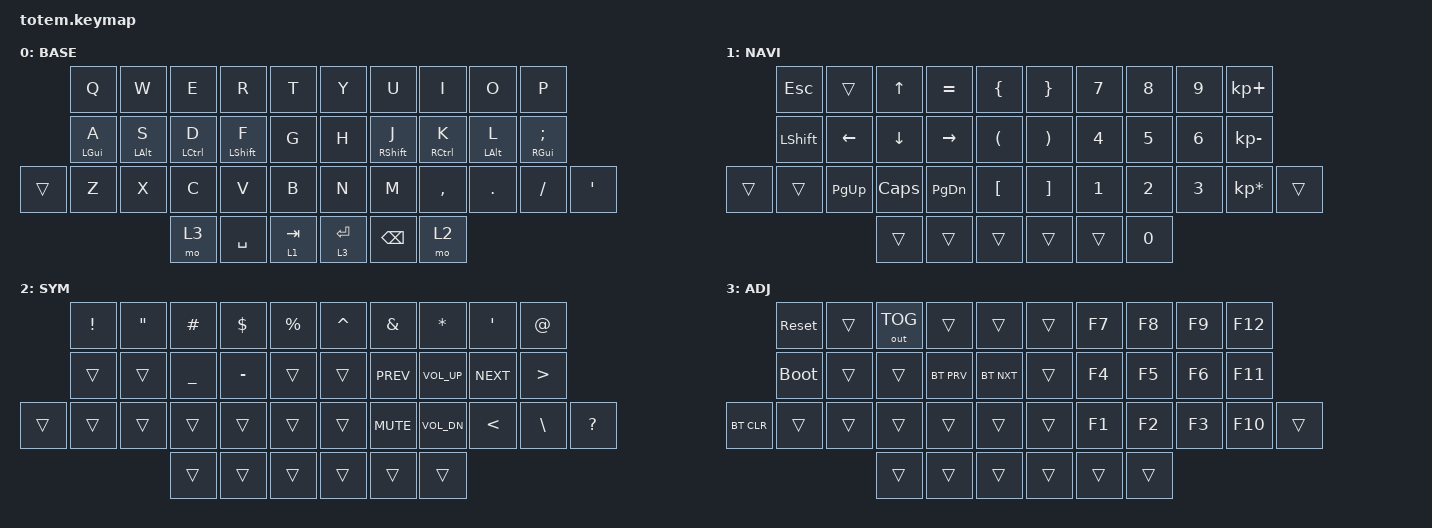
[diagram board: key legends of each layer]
#include <behaviors.dtsi>
#include <dt-bindings/zmk/bt.h>
#include <dt-bindings/zmk/keys.h>
#include <dt-bindings/zmk/outputs.h>

#define BASE 0
#define NAV  1
#define SYM  2
#define ADJ  3

/* Global override for standard Mod-Taps */
&mt {
    quick-tap-ms = <100>;
    require-prior-idle-ms = <80>;
    flavor = "tap-preferred";
    tapping-term-ms = <170>;
};

/ {
    /* Custom Behaviors */
    behaviors {
        hm_pinky: homerow_mods_pinky {
            compatible = "zmk,behavior-hold-tap";
            label = "HOMEROW_MODS_PINKY";
            #binding-cells = <2>;
            tapping-term-ms = <200>;
            quick-tap-ms = <100>;
            require-prior-idle-ms = <80>;
            flavor = "tap-preferred";
            bindings = <&kp>, <&kp>;
        };
    };

    combos {
        compatible = "zmk,combos";

        combo_esc {
            timeout-ms = <50>;
            key-positions = <2 3>;
            bindings = <&kp ESC>;
        };

        Enter {
            bindings = <&kp ENTER>;
            key-positions = <16 17 18>;
        };

        Delete {
            bindings = <&kp DELETE>;
            key-positions = <7 6>;
        };

        CapsWord {
            bindings = <&caps_word>;
            key-positions = <20 10>;
        };

        Copy {
            bindings = <&kp LC(C)>;
            key-positions = <21 22 23>;
        };

        Paste {
            bindings = <&kp LC(V)>;
            key-positions = <22 23 24>;
        };

        ADJ_layer {
            bindings = <&mo 3>;
            key-positions = <34 35>;
        };
    };

    keymap {
        compatible = "zmk,keymap";

        // BASE LAYER
        base_layer {
            label = "BASE";
            bindings = <
            &kp Q            &kp W           &kp E        &kp R        &kp T         &kp Y        &kp U           &kp I        &kp O            &kp P
            &hm_pinky LGUI A &mt LEFT_ALT S  &mt LCTRL D  &mt LSHFT F  &kp G         &kp H        &mt RSHFT J     &mt RCTRL K  &mt LEFT_ALT L   &mt RGUI SEMICOLON
    &trans  &kp Z            &kp X           &kp C        &kp V        &kp B         &kp N        &kp M           &kp COMMA    &kp DOT          &kp FSLH             &kp APOS
                                             &mo 3        &kp SPACE    &lt 1 TAB     &lt 3 RET    &kp BACKSPACE   &mo 2
            >;
        };

        // NAV LAYER
        nav_layer {
            label = "NAVI";
            bindings = <
            &kp ESC    &trans     &kp UP    &kp EQUAL  &kp LBRC              &kp RBRC               &kp N7  &kp N8  &kp N9  &kp KP_PLUS
            &kp LSHFT  &kp LEFT   &kp DOWN  &kp RIGHT  &kp LEFT_PARENTHESIS  &kp RIGHT_PARENTHESIS  &kp N4  &kp N5  &kp N6  &kp KP_MINUS
    &trans  &trans     &kp PG_UP  &kp CAPS  &kp PG_DN  &kp LEFT_BRACKET      &kp RIGHT_BRACKET      &kp N1  &kp N2  &kp N3  &kp KP_MULTIPLY  &trans
                                  &trans    &trans     &trans                &trans                 &trans  &kp N0
            >;
        };

        // SYM LAYER
        sim_layer {
            label = "SYM";
            bindings = <
            &kp EXCL  &kp DOUBLE_QUOTES  &kp HASH   &kp DLLR   &kp PRCNT  &kp CARET  &kp AMPS    &kp ASTERISK     &kp SQT      &kp AT_SIGN
            &trans    &trans             &kp UNDER  &kp MINUS  &trans     &trans     &kp C_PREV  &kp C_VOLUME_UP  &kp C_NEXT   &kp GREATER_THAN
    &trans  &trans    &trans             &trans     &trans     &trans     &trans     &kp C_MUTE  &kp C_VOL_DN     &kp LESS_THAN &kp BSLH          &kp QUESTION
                                         &trans     &trans     &trans     &trans     &trans      &trans
            >;
        };

        // ADJUST LAYER
        adjust_layer {
            label = "ADJ";
            bindings = <
                &sys_reset   &trans  &out OUT_TOG  &trans      &trans      &trans  &kp F7  &kp F8  &kp F9  &kp F12
                &bootloader  &trans  &trans        &bt BT_PRV  &bt BT_NXT  &trans  &kp F4  &kp F5  &kp F6  &kp F11
    &bt BT_CLR  &trans       &trans  &trans        &trans      &trans      &trans  &kp F1  &kp F2  &kp F3  &kp F10  &trans
                             &trans  &trans        &trans      &trans      &trans  &trans
            >;
        };
    };
};
